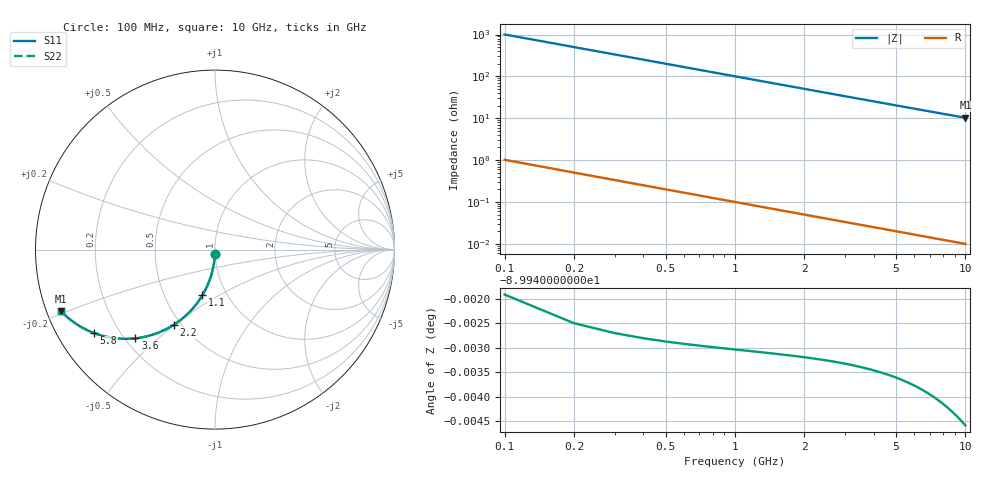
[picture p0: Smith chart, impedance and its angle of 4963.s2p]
# Hz S RI R 50.00
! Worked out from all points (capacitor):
!   100 points, 100 MHz to 10 GHz, reference 50 ohm
!   read as one part in shunt: C = 1.59 pF near 100 MHz
!   lowest |Z| = 10.3 ohm at 10 GHz (marker M1)
!   S11 on the Smith chart (normalised r, x): 100 MHz: 1.00, -0.05; 1.1 GHz: 0.77, -0.42; 2.2 GHz: 0.46, -0.50; 3.6 GHz: 0.24, -0.42; 5.8 GHz: 0.11, -0.31; 10 GHz: 0.04, -0.19
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1e8  -0.000636 -0.0249  0.9993 -0.025  0.9993 -0.025  -0.000636 -0.0249
2e8  -0.00252 -0.0496  0.9975 -0.0499  0.9975 -0.0499  -0.00252 -0.0496
3e8  -0.00563 -0.0742  0.9943 -0.0746  0.9943 -0.0746  -0.00563 -0.0742
4e8  -0.00994 -0.0985  0.99 -0.099  0.99 -0.099  -0.00994 -0.0985
5e8  -0.0154 -0.1225  0.9846 -0.123  0.9846 -0.123  -0.0154 -0.1225
6e8  -0.022 -0.146  0.978 -0.1466  0.978 -0.1466  -0.022 -0.146
7e8  -0.0297 -0.1689  0.9703 -0.1697  0.9703 -0.1697  -0.0297 -0.1689
9e8  -0.0481 -0.213  0.9519 -0.214  0.9519 -0.214  -0.0481 -0.213
1.1e9  -0.0701 -0.2542  0.9299 -0.2554  0.9299 -0.2554  -0.0701 -0.2542
1.4e9  -0.1086 -0.3099  0.8913 -0.3114  0.8913 -0.3114  -0.1086 -0.3099
1.8e9  -0.1674 -0.3719  0.8326 -0.3738  0.8326 -0.3738  -0.1674 -0.3719
2.2e9  -0.2307 -0.4196  0.7693 -0.422  0.7693 -0.422  -0.2307 -0.4196
2.8e9  -0.3263 -0.4669  0.6736 -0.4699  0.6736 -0.4699  -0.3263 -0.4669
3.4e9  -0.4161 -0.4906  0.5839 -0.4943  0.5839 -0.4943  -0.4161 -0.4906
3.6e9  -0.4439 -0.4944  0.556 -0.4983  0.556 -0.4983  -0.4439 -0.4944
4.3e9  -0.5319 -0.4961  0.4681 -0.5008  0.4681 -0.5008  -0.5319 -0.4961
5.1e9  -0.6146 -0.4834  0.3854 -0.489  0.3854 -0.489  -0.6146 -0.4834
5.8e9  -0.673 -0.4654  0.3269 -0.4718  0.3269 -0.4718  -0.673 -0.4654
6.7e9  -0.7327 -0.4383  0.2672 -0.4457  0.2672 -0.4457  -0.7327 -0.4383
7.5e9  -0.7743 -0.4134  0.2256 -0.4217  0.2256 -0.4217  -0.7743 -0.4134
8.4e9  -0.8112 -0.3861  0.1887 -0.3955  0.1887 -0.3955  -0.8112 -0.3861
1e10  -0.8588 -0.342  0.1411 -0.3533  0.1411 -0.3533  -0.8588 -0.342
